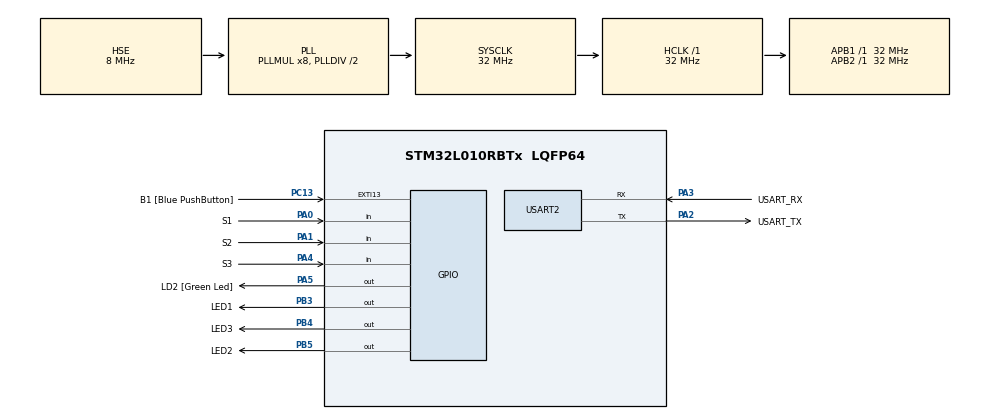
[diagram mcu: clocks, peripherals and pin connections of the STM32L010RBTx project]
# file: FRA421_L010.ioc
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IWDG.Prescaler=IWDG_PRESCALER_64
Mcu.Family=STM32L0
Mcu.Name=STM32L010RBTx
Mcu.Package=LQFP64
NVIC.EXTI4_15_IRQn=true\:2\:0\:true\:false\:true\:true\:true\:true
PA0.GPIO_Label=S1
PA0.Signal=GPIO_Input
PA1.GPIO_Label=S2
PA1.Signal=GPIO_Input
PA13.GPIO_Label=TMS
PA13.Mode=Serial_Wire
PA13.Signal=SYS_SWDIO
PA14.GPIO_Label=TCK
PA14.Mode=Serial_Wire
PA14.Signal=SYS_SWCLK
PA2.GPIO_Label=USART_TX
PA2.Mode=Asynchronous
PA2.Signal=USART2_TX
PA3.GPIO_Label=USART_RX
PA3.Mode=Asynchronous
PA3.Signal=USART2_RX
PA4.GPIO_Label=S3
PA4.Signal=GPIO_Input
PA5.GPIO_Label=LD2 [Green Led]
PA5.Signal=GPIO_Output
PB3.GPIO_Label=LED1
PB3.GPIO_ModeDefaultOutputPP=GPIO_MODE_OUTPUT_PP
PB3.GPIO_PuPd=GPIO_NOPULL
PB3.PinState=GPIO_PIN_SET
PB3.Signal=GPIO_Output
PB4.GPIO_Label=LED3
PB4.GPIO_ModeDefaultOutputPP=GPIO_MODE_OUTPUT_PP
PB4.GPIO_PuPd=GPIO_NOPULL
PB4.PinState=GPIO_PIN_SET
PB4.Signal=GPIO_Output
PB5.GPIO_Label=LED2
PB5.GPIO_ModeDefaultOutputPP=GPIO_MODE_OUTPUT_PP
PB5.GPIO_PuPd=GPIO_NOPULL
PB5.PinState=GPIO_PIN_SET
PB5.Signal=GPIO_Output
PC13.GPIO_Label=B1 [Blue PushButton]
PC13.GPIO_ModeDefaultEXTI=GPIO_MODE_IT_FALLING
PC13.Signal=GPXTI13
PC14-OSC32_IN.Mode=LSE-External-Oscillator
PC14-OSC32_IN.Signal=RCC_OSC32_IN
PC15-OSC32_OUT.Mode=LSE-External-Oscillator
PC15-OSC32_OUT.Signal=RCC_OSC32_OUT
PH0-OSC_IN.GPIO_Label=MCO
PH0-OSC_IN.Mode=HSE-External-Clock-Source
PH0-OSC_IN.Signal=RCC_OSC_IN
ProjectManager.HeapSize=0x200
ProjectManager.StackSize=0x400
ProjectManager.TargetToolchain=STM32CubeIDE
RCC.AHBFreq_Value=32000000
RCC.APB1Freq_Value=32000000
RCC.APB1TimFreq_Value=32000000
RCC.APB2Freq_Value=32000000
RCC.APB2TimFreq_Value=32000000
RCC.HCLKFreq_Value=32000000
RCC.HSE_VALUE=8000000
RCC.HSI16_VALUE=16000000
RCC.HSI48_VALUE=48000000
RCC.HSI_VALUE=16000000
RCC.MSI_VALUE=2097000
RCC.PLLMUL=RCC_PLLMUL_8
RCC.PLLSourceVirtual=RCC_PLLSOURCE_HSE
RCC.SYSCLKFreq_VALUE=32000000
RCC.SYSCLKSource=RCC_SYSCLKSOURCE_PLLCLK
RCC.VCOOutputFreq_Value=64000000
USART2.VirtualMode-Asynchronous=VM_ASYNC
VP_IWDG_VS_IWDG.Mode=IWDG_Activate
VP_WWDG_VS_WWDG.Mode=WWDG_Activate
WWDG.Counter=127
WWDG.Prescaler=WWDG_PRESCALER_8
WWDG.Window=100
board=NUCLEO-L010RB

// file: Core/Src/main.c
/* USER CODE BEGIN Header */
/**
  ******************************************************************************
  * @file           : main.c
  * @brief          : Main program body
  ******************************************************************************
  * @attention
  *
  * Copyright (c) 2022 STMicroelectronics.
  * All rights reserved.
  *
  * This software is licensed under terms that can be found in the LICENSE file
  * in the root directory of this software component.
  * If no LICENSE file comes with this software, it is provided AS-IS.
  *
  ******************************************************************************
  */
/* USER CODE END Header */
#include "main.h"

 IWDG_HandleTypeDef hiwdg;

UART_HandleTypeDef huart2;

WWDG_HandleTypeDef hwwdg;

void SystemClock_Config(void);
static void MX_GPIO_Init(void);
static void MX_USART2_UART_Init(void);
static void MX_IWDG_Init(void);
static void MX_WWDG_Init(void);

int main(void)
{
  /* USER CODE BEGIN 1 */
	// Check what is cause our system to reset
	if(__HAL_RCC_GET_FLAG(RCC_FLAG_PINRST)) // this is press reset btn
	{
		// do something about error
		__HAL_RCC_CLEAR_RESET_FLAGS(); // Clear Flag
	}
  /* USER CODE END 1 */

  /* MCU Configuration--------------------------------------------------------*/

  /* Reset of all peripherals, Initializes the Flash interface and the Systick. */
  HAL_Init();

  /* Configure the system clock */
  SystemClock_Config();

  /* USER CODE BEGIN SysInit */
  MX_GPIO_Init();
  HAL_GPIO_WritePin(LD2_GPIO_Port, LD2_Pin, GPIO_PIN_SET);
  HAL_Delay(1000);
  HAL_GPIO_WritePin(LD2_GPIO_Port, LD2_Pin, GPIO_PIN_RESET);
  HAL_Delay(1000);
  /* USER CODE END SysInit */

  /* Initialize all configured peripherals */
  MX_GPIO_Init();
  MX_USART2_UART_Init();
  MX_IWDG_Init();
  MX_WWDG_Init();

  /* Infinite loop */
  /* USER CODE BEGIN WHILE */
  while (1)
  {
//	  HAL_GPIO_TogglePin(LD2_GPIO_Port, LD2_Pin);
//	  HAL_Delay(100);
    /* USER CODE END WHILE */

    /* USER CODE BEGIN 3 */
	  if (HAL_GPIO_ReadPin(S1_GPIO_Port, S1_Pin) == GPIO_PIN_RESET)
	  {
		  // WWGD window timeout
		  // (1/32000000)*4096*8*(63+1) == 0.065s
		  // Refresh at 70ms - MCU should reset
		  HAL_Delay(70);
		  HAL_WWDG_Refresh(&hwwdg);
	  }
	  else if(HAL_GPIO_ReadPin(S2_GPIO_Port, S2_Pin) == GPIO_PIN_RESET)
	  {
		  // WWGD window window time
		  // (1/32000000)*4096*8*(36+1) == 0.038s
		  // Refresh at 20ms - MCU should reset
		  HAL_Delay(20);
		  HAL_WWDG_Refresh(&hwwdg);
	  }
	  else if(HAL_GPIO_ReadPin(S3_GPIO_Port, S3_Pin) == GPIO_PIN_RESET)
	  {
		  // Stop main clock
		  HAL_SuspendTick();
		  __HAL_PWR_CLEAR_FLAG(PWR_FLAG_WU);
		  HAL_PWR_EnterSTOPMode(PWR_REGULATOR_VOLTAGE_SCALE1, PWR_STOPENTRY_WFE);
	  }
	  else
	  {
		  // Refresh at 50ms - MCU should continuous running
		  HAL_Delay(50);
		  HAL_WWDG_Refresh(&hwwdg);
	  }
	  // Refresh IWDG
	  // Window time out
	  // (1/37000)*64*4096 = 7s
	  HAL_IWDG_Refresh(&hiwdg);
  }
  /* USER CODE END 3 */
}

void SystemClock_Config(void)
{
  RCC_OscInitTypeDef RCC_OscInitStruct = {0};
  RCC_ClkInitTypeDef RCC_ClkInitStruct = {0};
  RCC_PeriphCLKInitTypeDef PeriphClkInit = {0};

  /** Configure the main internal regulator output voltage
  */
  __HAL_PWR_VOLTAGESCALING_CONFIG(PWR_REGULATOR_VOLTAGE_SCALE1);

  /** Initializes the RCC Oscillators according to the specified parameters
  * in the RCC_OscInitTypeDef structure.
  */
  RCC_OscInitStruct.OscillatorType = RCC_OSCILLATORTYPE_LSI|RCC_OSCILLATORTYPE_HSE;
  RCC_OscInitStruct.HSEState = RCC_HSE_BYPASS;
  RCC_OscInitStruct.LSIState = RCC_LSI_ON;
  RCC_OscInitStruct.PLL.PLLState = RCC_PLL_ON;
  RCC_OscInitStruct.PLL.PLLSource = RCC_PLLSOURCE_HSE;
  RCC_OscInitStruct.PLL.PLLMUL = RCC_PLLMUL_8;
  RCC_OscInitStruct.PLL.PLLDIV = RCC_PLLDIV_2;
  if (HAL_RCC_OscConfig(&RCC_OscInitStruct) != HAL_OK)
  {
    Error_Handler();
  }

  /** Initializes the CPU, AHB and APB buses clocks
  */
  RCC_ClkInitStruct.ClockType = RCC_CLOCKTYPE_HCLK|RCC_CLOCKTYPE_SYSCLK
                              |RCC_CLOCKTYPE_PCLK1|RCC_CLOCKTYPE_PCLK2;
  RCC_ClkInitStruct.SYSCLKSource = RCC_SYSCLKSOURCE_PLLCLK;
  RCC_ClkInitStruct.AHBCLKDivider = RCC_SYSCLK_DIV1;
  RCC_ClkInitStruct.APB1CLKDivider = RCC_HCLK_DIV1;
  RCC_ClkInitStruct.APB2CLKDivider = RCC_HCLK_DIV1;

  if (HAL_RCC_ClockConfig(&RCC_ClkInitStruct, FLASH_LATENCY_1) != HAL_OK)
  {
    Error_Handler();
  }
  PeriphClkInit.PeriphClockSelection = RCC_PERIPHCLK_USART2;
  PeriphClkInit.Usart2ClockSelection = RCC_USART2CLKSOURCE_PCLK1;
  if (HAL_RCCEx_PeriphCLKConfig(&PeriphClkInit) != HAL_OK)
  {
    Error_Handler();
  }
}

static void MX_IWDG_Init(void)
{

  hiwdg.Instance = IWDG;
  hiwdg.Init.Prescaler = IWDG_PRESCALER_64;
  hiwdg.Init.Window = 4095;
  hiwdg.Init.Reload = 4095;
  if (HAL_IWDG_Init(&hiwdg) != HAL_OK)
  {
    Error_Handler();
  }

}

static void MX_USART2_UART_Init(void)
{

  huart2.Instance = USART2;
  huart2.Init.BaudRate = 115200;
  huart2.Init.WordLength = UART_WORDLENGTH_8B;
  huart2.Init.StopBits = UART_STOPBITS_1;
  huart2.Init.Parity = UART_PARITY_NONE;
  huart2.Init.Mode = UART_MODE_TX_RX;
  huart2.Init.HwFlowCtl = UART_HWCONTROL_NONE;
  huart2.Init.OverSampling = UART_OVERSAMPLING_16;
  huart2.Init.OneBitSampling = UART_ONE_BIT_SAMPLE_DISABLE;
  huart2.AdvancedInit.AdvFeatureInit = UART_ADVFEATURE_NO_INIT;
  if (HAL_UART_Init(&huart2) != HAL_OK)
  {
    Error_Handler();
  }

}

static void MX_WWDG_Init(void)
{

  hwwdg.Instance = WWDG;
  hwwdg.Init.Prescaler = WWDG_PRESCALER_8;
  hwwdg.Init.Window = 100;
  hwwdg.Init.Counter = 127;
  hwwdg.Init.EWIMode = WWDG_EWI_DISABLE;
  if (HAL_WWDG_Init(&hwwdg) != HAL_OK)
  {
    Error_Handler();
  }

}

static void MX_GPIO_Init(void)
{
  GPIO_InitTypeDef GPIO_InitStruct = {0};

  /* GPIO Ports Clock Enable */
  __HAL_RCC_GPIOC_CLK_ENABLE();
  __HAL_RCC_GPIOH_CLK_ENABLE();
  __HAL_RCC_GPIOA_CLK_ENABLE();
  __HAL_RCC_GPIOB_CLK_ENABLE();

  /*Configure GPIO pin Output Level */
  HAL_GPIO_WritePin(LD2_GPIO_Port, LD2_Pin, GPIO_PIN_RESET);

  /*Configure GPIO pin Output Level */
  HAL_GPIO_WritePin(GPIOB, LED1_Pin|LED3_Pin|LED2_Pin, GPIO_PIN_SET);

  /*Configure GPIO pin : B1_Pin */
  GPIO_InitStruct.Pin = B1_Pin;
  GPIO_InitStruct.Mode = GPIO_MODE_IT_FALLING;
  GPIO_InitStruct.Pull = GPIO_NOPULL;
  HAL_GPIO_Init(B1_GPIO_Port, &GPIO_InitStruct);

  /*Configure GPIO pins : S1_Pin S2_Pin S3_Pin */
  GPIO_InitStruct.Pin = S1_Pin|S2_Pin|S3_Pin;
  GPIO_InitStruct.Mode = GPIO_MODE_INPUT;
  GPIO_InitStruct.Pull = GPIO_NOPULL;
  HAL_GPIO_Init(GPIOA, &GPIO_InitStruct);

  /*Configure GPIO pin : LD2_Pin */
  GPIO_InitStruct.Pin = LD2_Pin;
  GPIO_InitStruct.Mode = GPIO_MODE_OUTPUT_PP;
  GPIO_InitStruct.Pull = GPIO_NOPULL;
  GPIO_InitStruct.Speed = GPIO_SPEED_FREQ_LOW;
  HAL_GPIO_Init(LD2_GPIO_Port, &GPIO_InitStruct);

  /*Configure GPIO pins : LED1_Pin LED3_Pin LED2_Pin */
  GPIO_InitStruct.Pin = LED1_Pin|LED3_Pin|LED2_Pin;
  GPIO_InitStruct.Mode = GPIO_MODE_OUTPUT_PP;
  GPIO_InitStruct.Pull = GPIO_NOPULL;
  GPIO_InitStruct.Speed = GPIO_SPEED_FREQ_LOW;
  HAL_GPIO_Init(GPIOB, &GPIO_InitStruct);

  /* EXTI interrupt init*/
  HAL_NVIC_SetPriority(EXTI4_15_IRQn, 2, 0);
  HAL_NVIC_EnableIRQ(EXTI4_15_IRQn);

}

/* USER CODE BEGIN 4 */
//void HAL_GPIO_EXTI_Callback(uint16_t GPIO_Pin)
//{
//	if(GPIO_Pin == GPIO_PIN_0)
//	{
//		HAL_GPIO_WritePin(LED1_GPIO_Port, LED1_Pin, GPIO_PIN_RESET); //Turn on
//		while(HAL_GPIO_ReadPin(S1_GPIO_Port, S1_Pin) == GPIO_PIN_RESET)
//		{
//			HAL_GPIO_TogglePin(LED1_GPIO_Port, LED1_Pin);
//			HAL_Delay(100);
//		}
//		HAL_GPIO_WritePin(LED1_GPIO_Port, LED1_Pin, GPIO_PIN_SET); //Turn off
//	}
//
//	if(GPIO_Pin == GPIO_PIN_1)
//	{
//		HAL_GPIO_WritePin(LED2_GPIO_Port, LED2_Pin, GPIO_PIN_RESET);
//		while(HAL_GPIO_ReadPin(S2_GPIO_Port, S2_Pin) == GPIO_PIN_RESET)
//		{
//			HAL_GPIO_TogglePin(LED2_GPIO_Port, LED2_Pin);
//			HAL_Delay(100);
//		}
//		HAL_GPIO_WritePin(LED2_GPIO_Port, LED2_Pin, GPIO_PIN_SET);
//	}
//
//	if(GPIO_Pin == GPIO_PIN_4)
//	{
//		HAL_GPIO_WritePin(LED3_GPIO_Port, LED3_Pin, GPIO_PIN_RESET);
//		while(HAL_GPIO_ReadPin(S3_GPIO_Port, S3_Pin) == GPIO_PIN_RESET)
//		{
//			HAL_GPIO_TogglePin(LED3_GPIO_Port, LED3_Pin);
//			HAL_Delay(100);
//		}
//		HAL_GPIO_WritePin(LED3_GPIO_Port, LED3_Pin, GPIO_PIN_SET);
//	}
//}
/* USER CODE END 4 */

void Error_Handler(void)
{
  __disable_irq();
  while (1)
  {
  }
}
